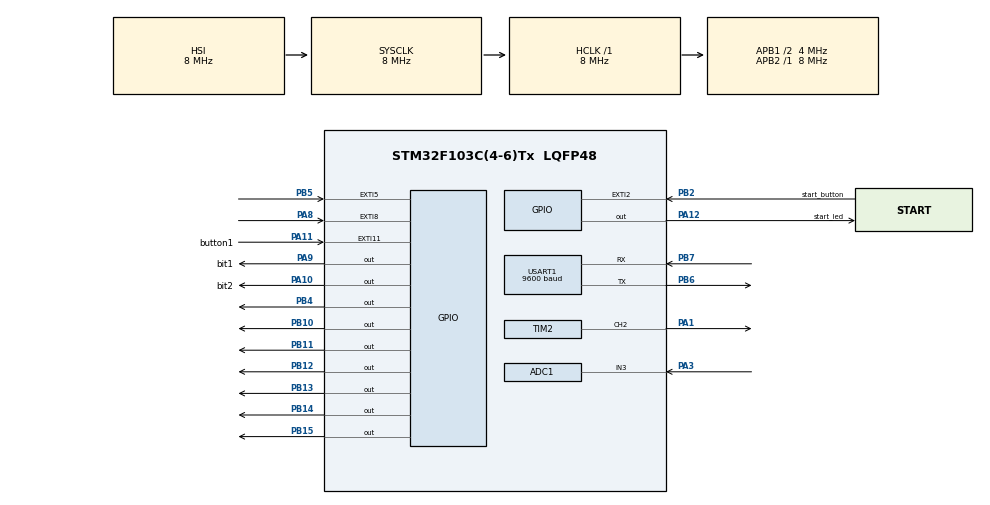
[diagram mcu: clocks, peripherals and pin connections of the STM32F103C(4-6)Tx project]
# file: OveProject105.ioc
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ADC1.Channel-0\#ChannelRegularConversion=ADC_CHANNEL_3
ADC1.ContinuousConvMode=DISABLE
ADC1.NbrOfConversionFlag=1
ADC1.Rank-0\#ChannelRegularConversion=1
ADC1.SamplingTime-0\#ChannelRegularConversion=ADC_SAMPLETIME_55CYCLES_5
ADC1.master=1
Dma.Request0=TIM2_CH2/CH4
Dma.TIM2_CH2/CH4.0.Direction=DMA_PERIPH_TO_MEMORY
Dma.TIM2_CH2/CH4.0.Instance=DMA1_Channel7
Dma.TIM2_CH2/CH4.0.MemDataAlignment=DMA_MDATAALIGN_HALFWORD
Dma.TIM2_CH2/CH4.0.MemInc=DMA_MINC_ENABLE
Dma.TIM2_CH2/CH4.0.Mode=DMA_NORMAL
Dma.TIM2_CH2/CH4.0.PeriphDataAlignment=DMA_PDATAALIGN_HALFWORD
Dma.TIM2_CH2/CH4.0.PeriphInc=DMA_PINC_DISABLE
Dma.TIM2_CH2/CH4.0.Priority=DMA_PRIORITY_LOW
Mcu.Family=STM32F1
Mcu.Name=STM32F103C(4-6)Tx
Mcu.Package=LQFP48
NVIC.ADC1_2_IRQn=true\:0\:0\:false\:false\:true\:true\:true\:true
NVIC.DMA1_Channel7_IRQn=true\:0\:0\:false\:false\:true\:false\:true\:true
NVIC.EXTI15_10_IRQn=true\:0\:0\:false\:false\:true\:true\:true\:true
NVIC.EXTI2_IRQn=true\:0\:0\:false\:false\:true\:true\:true\:true
NVIC.EXTI9_5_IRQn=true\:0\:0\:false\:false\:true\:true\:true\:true
NVIC.PriorityGroup=NVIC_PRIORITYGROUP_4
NVIC.RTC_IRQn=true\:0\:0\:false\:false\:true\:true\:true\:true
NVIC.TIM2_IRQn=true\:0\:0\:false\:false\:true\:true\:true\:true
NVIC.TIM3_IRQn=true\:0\:0\:false\:false\:true\:true\:true\:true
NVIC.USART1_IRQn=true\:0\:0\:false\:false\:true\:true\:true\:true
PA1.Signal=S_TIM2_CH2
PA10.GPIO_Label=bit2
PA10.Signal=GPIO_Output
PA11.GPIO_Label=button1
PA11.GPIO_PuPd=GPIO_PULLDOWN
PA11.Signal=GPXTI11
PA12.GPIO_Label=start_led
PA12.Signal=GPIO_Output
PA13.Mode=Serial_Wire
PA13.Signal=SYS_JTMS-SWDIO
PA14.Mode=Serial_Wire
PA14.Signal=SYS_JTCK-SWCLK
PA3.Signal=ADCx_IN3
PA8.GPIO_PuPd=GPIO_PULLDOWN
PA8.Signal=GPXTI8
PA9.GPIO_Label=bit1
PA9.Signal=GPIO_Output
PB10.Signal=GPIO_Output
PB11.Signal=GPIO_Output
PB12.Signal=GPIO_Output
PB13.Signal=GPIO_Output
PB14.Signal=GPIO_Output
PB15.Signal=GPIO_Output
PB2.GPIO_Label=start_button
PB2.GPIO_PuPd=GPIO_PULLDOWN
PB2.Signal=GPXTI2
PB4.Signal=GPIO_Output
PB5.GPIO_PuPd=GPIO_PULLDOWN
PB5.Signal=GPXTI5
PB6.Mode=Asynchronous
PB6.Signal=USART1_TX
PB7.Mode=Asynchronous
PB7.Signal=USART1_RX
PD0-OSC_IN.Mode=HSE-External-Oscillator
PD0-OSC_IN.Signal=RCC_OSC_IN
PD1-OSC_OUT.Mode=HSE-External-Oscillator
PD1-OSC_OUT.Signal=RCC_OSC_OUT
ProjectManager.HeapSize=0x200
ProjectManager.StackSize=0x400
ProjectManager.TargetToolchain=MDK-ARM V5.32
RCC.AHBFreq_Value=8000000
RCC.APB1CLKDivider=RCC_HCLK_DIV2
RCC.APB1Freq_Value=4000000
RCC.APB1TimFreq_Value=8000000
RCC.APB2Freq_Value=8000000
RCC.APB2TimFreq_Value=8000000
RCC.HCLKFreq_Value=8000000
RCC.PLLMUL=RCC_PLL_MUL4
RCC.SYSCLKFreq_VALUE=8000000
RCC.USBFreq_Value=16000000
RTC.Date=29
RTC.Format=RTC_FORMAT_BCD
RTC.Hours=23
RTC.Minutes=0
RTC.Month=RTC_MONTH_MAY
RTC.WeekDay=RTC_WEEKDAY_SUNDAY
SH.ADCx_IN3.0=ADC1_IN3,IN3
SH.S_TIM2_CH2.0=TIM2_CH2,PWM Generation2 CH2
TIM2.Channel-PWM\ Generation2\ CH2=TIM_CHANNEL_2
TIM2.OCPolarity_2=TIM_OCPOLARITY_HIGH
TIM2.Period=63999
TIM2.Prescaler=124
TIM3.Period=63999
TIM3.Prescaler=124
USART1.BaudRate=9600
USART1.Mode=MODE_TX_RX
USART1.VirtualMode=VM_ASYNC
VP_RTC_VS_RTC_Activate.Mode=RTC_Enabled
VP_RTC_VS_RTC_Calendar.Mode=RTC_Calendar
VP_TIM3_VS_ClockSourceINT.Mode=Internal
board=custom

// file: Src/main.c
/* USER CODE BEGIN Header */
/**
  ******************************************************************************
  * @file           : main.c
  * @brief          : Main program body
  ******************************************************************************
  * @attention
  *
  * Copyright (c) 2022 STMicroelectronics.
  * All rights reserved.
  *
  * This software is licensed under terms that can be found in the LICENSE file
  * in the root directory of this software component.
  * If no LICENSE file comes with this software, it is provided AS-IS.
  *
  ******************************************************************************
  */
/* USER CODE END Header */
#include "main.h"

/* USER CODE BEGIN Includes */
#include "stdio.h"
#include "lcd_txt.h"
#include "time.h"
GPIO_PinState button1_value_current = GPIO_PIN_RESET;
GPIO_PinState button1_value_previous = GPIO_PIN_RESET;
uint32_t raw_temp_value = 0;
uint32_t temp_value=0;
uint32_t raw_duration_value = 0;
uint32_t duration_value=0;
uint8_t current_number=0;
uint32_t user_temp_value=0;
uint32_t user_duration_value=0;
int isStart = 0;
uint8_t buffrc[8];
char str[80];
char temp_str[80]="              ";
char dur_str[80]="              ";
char empty_str[80];
char uart_rc[80];
char timer_str[80];
uint32_t timer=0;
uint32_t timer2=0;
uint8_t sec = 0;
uint8_t min = 0;
uint8_t hour = 0;
uint8_t date = 0;
uint8_t month = 0;
uint8_t year = 0;
char current_time[80];

int isClicked = 0;
/* USER CODE END Includes */

 ADC_HandleTypeDef hadc1;

RTC_HandleTypeDef hrtc;

TIM_HandleTypeDef htim2;
TIM_HandleTypeDef htim3;
DMA_HandleTypeDef hdma_tim2_ch2_ch4;

UART_HandleTypeDef huart1;

/* USER CODE BEGIN PV */
RTC_TimeTypeDef sTime;
RTC_DateTypeDef sDate;
/* USER CODE END PV */

void SystemClock_Config(void);
static void MX_GPIO_Init(void);
static void MX_ADC1_Init(void);
static void MX_RTC_Init(void);
static void MX_DMA_Init(void);
static void MX_TIM2_Init(void);
static void MX_TIM3_Init(void);
static void MX_USART1_UART_Init(void);

/* USER CODE BEGIN 0 */
void HAL_ADC_ConvCpltCallback(ADC_HandleTypeDef* hadc)
{

		 uint16_t get_val = HAL_ADC_GetValue(&hadc1);
		 raw_temp_value = (int)(get_val*12.20)/100;

     sprintf(str, "Temp = %-3d C    ", raw_temp_value);
		 if(isStart==1){

			 if(raw_temp_value>user_temp_value){
				HAL_GPIO_WritePin(GPIOA,GPIO_PIN_9, GPIO_PIN_RESET);
				HAL_GPIO_WritePin(GPIOA,GPIO_PIN_10, GPIO_PIN_RESET);

			 }
			 else if(raw_temp_value-15<user_temp_value){

					GPIO_PinState bit1_value,bit2_value;
					bit1_value = (current_number & (uint8_t)1) ? GPIO_PIN_SET:GPIO_PIN_RESET;
					bit2_value = (current_number & (uint8_t)2) ? GPIO_PIN_SET:GPIO_PIN_RESET; //0b00010
					bit1_GPIO_Port->BSRR = (bit1_value ? bit1_Pin : bit1_Pin << 16u) | (bit2_value ? bit2_Pin : bit2_Pin << 16u);

			 }

		 }

		  if (HAL_ADC_Stop_IT(&hadc1) != HAL_OK)
				{
					Error_Handler();
				}

		 //temp_value= (uint32_t)(raw_temp_value/300); // Max Val ->3000 # of choices ->10

}
/* USER CODE END 0 */

int main(void)
{
  /* USER CODE BEGIN 1 */
	sprintf(empty_str, "                       ");
  /* USER CODE END 1 */

  /* MCU Configuration--------------------------------------------------------*/

  /* Reset of all peripherals, Initializes the Flash interface and the Systick. */
  HAL_Init();

  /* Configure the system clock */
  SystemClock_Config();

  /* Initialize all configured peripherals */
  MX_GPIO_Init();
  MX_ADC1_Init();
  MX_RTC_Init();
  MX_DMA_Init();
  MX_TIM2_Init();
  MX_TIM3_Init();
  MX_USART1_UART_Init();
  /* USER CODE BEGIN 2 */

	__HAL_RTC_SECOND_ENABLE_IT(&hrtc,RTC_IT_SEC);

	 lcd_init();

  /* USER CODE END 2 */

  /* Infinite loop */
  /* USER CODE BEGIN WHILE */
	//HAL_ADC_Start_IT(&hadc1);
	 if (HAL_TIM_Base_Start_IT(&htim3) != HAL_OK)
		{
			Error_Handler();
		}

	 if (HAL_UART_Receive_IT(&huart1,(uint8_t*)buffrc,8) != HAL_OK)
		{
			Error_Handler();
		}

  while (1)
  {

		 if (HAL_ADC_Start_IT(&hadc1) != HAL_OK)
		{
			Error_Handler();
		}
		sprintf(timer_str,"   %d mins left     ",user_duration_value - timer);

		if(isStart==1){

				lcd_puts(0,0,(int8_t*)timer_str);
				lcd_puts(1,0,(int8_t*)empty_str);
		}
		else{

			if(isClicked==0){
				lcd_puts(0,0,(int8_t*)current_time);
			}
			else{
				lcd_puts(0,0,(int8_t*)temp_str);
				lcd_puts(1,0,(int8_t*)dur_str);
			}

		}

		if(isStart==0 && timer2==5){
			  lcd_clear();
				sprintf(current_time, "                      ");
			  HAL_SuspendTick();
				/* Enter Stop Mode */
				if (HAL_TIM_Base_Stop_IT(&htim3) != HAL_OK)
					{
						Error_Handler();
					}
				HAL_PWR_EnterSLEEPMode(PWR_MAINREGULATOR_ON, PWR_SLEEPENTRY_WFI);
			  HAL_ResumeTick();
				if (HAL_TIM_Base_Start_IT(&htim3) != HAL_OK)
				{
					Error_Handler();
				}
				timer2=0;

	  }

    /* USER CODE END WHILE */

  }
}

void SystemClock_Config(void)
{
  RCC_OscInitTypeDef RCC_OscInitStruct = {0};
  RCC_ClkInitTypeDef RCC_ClkInitStruct = {0};
  RCC_PeriphCLKInitTypeDef PeriphClkInit = {0};

  /** Initializes the RCC Oscillators according to the specified parameters
  * in the RCC_OscInitTypeDef structure.
  */
  RCC_OscInitStruct.OscillatorType = RCC_OSCILLATORTYPE_HSI|RCC_OSCILLATORTYPE_LSI;
  RCC_OscInitStruct.HSIState = RCC_HSI_ON;
  RCC_OscInitStruct.HSICalibrationValue = RCC_HSICALIBRATION_DEFAULT;
  RCC_OscInitStruct.LSIState = RCC_LSI_ON;
  RCC_OscInitStruct.PLL.PLLState = RCC_PLL_NONE;
  if (HAL_RCC_OscConfig(&RCC_OscInitStruct) != HAL_OK)
  {
    Error_Handler();
  }

  /** Initializes the CPU, AHB and APB buses clocks
  */
  RCC_ClkInitStruct.ClockType = RCC_CLOCKTYPE_HCLK|RCC_CLOCKTYPE_SYSCLK
                              |RCC_CLOCKTYPE_PCLK1|RCC_CLOCKTYPE_PCLK2;
  RCC_ClkInitStruct.SYSCLKSource = RCC_SYSCLKSOURCE_HSI;
  RCC_ClkInitStruct.AHBCLKDivider = RCC_SYSCLK_DIV1;
  RCC_ClkInitStruct.APB1CLKDivider = RCC_HCLK_DIV2;
  RCC_ClkInitStruct.APB2CLKDivider = RCC_HCLK_DIV1;

  if (HAL_RCC_ClockConfig(&RCC_ClkInitStruct, FLASH_LATENCY_0) != HAL_OK)
  {
    Error_Handler();
  }
  PeriphClkInit.PeriphClockSelection = RCC_PERIPHCLK_RTC|RCC_PERIPHCLK_ADC;
  PeriphClkInit.RTCClockSelection = RCC_RTCCLKSOURCE_LSI;
  PeriphClkInit.AdcClockSelection = RCC_ADCPCLK2_DIV2;
  if (HAL_RCCEx_PeriphCLKConfig(&PeriphClkInit) != HAL_OK)
  {
    Error_Handler();
  }
}

static void MX_ADC1_Init(void)
{

  ADC_ChannelConfTypeDef sConfig = {0};

  /** Common config
  */
  hadc1.Instance = ADC1;
  hadc1.Init.ScanConvMode = ADC_SCAN_DISABLE;
  hadc1.Init.ContinuousConvMode = DISABLE;
  hadc1.Init.DiscontinuousConvMode = DISABLE;
  hadc1.Init.ExternalTrigConv = ADC_SOFTWARE_START;
  hadc1.Init.DataAlign = ADC_DATAALIGN_RIGHT;
  hadc1.Init.NbrOfConversion = 1;
  if (HAL_ADC_Init(&hadc1) != HAL_OK)
  {
    Error_Handler();
  }

  /** Configure Regular Channel
  */
  sConfig.Channel = ADC_CHANNEL_3;
  sConfig.Rank = ADC_REGULAR_RANK_1;
  sConfig.SamplingTime = ADC_SAMPLETIME_55CYCLES_5;
  if (HAL_ADC_ConfigChannel(&hadc1, &sConfig) != HAL_OK)
  {
    Error_Handler();
  }

}

static void MX_RTC_Init(void)
{

  RTC_TimeTypeDef sTime = {0};
  RTC_DateTypeDef DateToUpdate = {0};

  /** Initialize RTC Only
  */
  hrtc.Instance = RTC;
  hrtc.Init.AsynchPrediv = RTC_AUTO_1_SECOND;
  hrtc.Init.OutPut = RTC_OUTPUTSOURCE_ALARM;
  if (HAL_RTC_Init(&hrtc) != HAL_OK)
  {
    Error_Handler();
  }

  /** Initialize RTC and set the Time and Date
  */
  sTime.Hours = 0x23;
  sTime.Minutes = 0x0;
  sTime.Seconds = 0x0;

  if (HAL_RTC_SetTime(&hrtc, &sTime, RTC_FORMAT_BCD) != HAL_OK)
  {
    Error_Handler();
  }
  DateToUpdate.WeekDay = RTC_WEEKDAY_SUNDAY;
  DateToUpdate.Month = RTC_MONTH_MAY;
  DateToUpdate.Date = 0x29;
  DateToUpdate.Year = 0x0;

  if (HAL_RTC_SetDate(&hrtc, &DateToUpdate, RTC_FORMAT_BCD) != HAL_OK)
  {
    Error_Handler();
  }

}

static void MX_TIM2_Init(void)
{

  TIM_MasterConfigTypeDef sMasterConfig = {0};
  TIM_OC_InitTypeDef sConfigOC = {0};

  htim2.Instance = TIM2;
  htim2.Init.Prescaler = 124;
  htim2.Init.CounterMode = TIM_COUNTERMODE_UP;
  htim2.Init.Period = 63999;
  htim2.Init.ClockDivision = TIM_CLOCKDIVISION_DIV1;
  htim2.Init.AutoReloadPreload = TIM_AUTORELOAD_PRELOAD_DISABLE;
  if (HAL_TIM_PWM_Init(&htim2) != HAL_OK)
  {
    Error_Handler();
  }
  sMasterConfig.MasterOutputTrigger = TIM_TRGO_RESET;
  sMasterConfig.MasterSlaveMode = TIM_MASTERSLAVEMODE_DISABLE;
  if (HAL_TIMEx_MasterConfigSynchronization(&htim2, &sMasterConfig) != HAL_OK)
  {
    Error_Handler();
  }
  sConfigOC.OCMode = TIM_OCMODE_PWM1;
  sConfigOC.Pulse = 0;
  sConfigOC.OCPolarity = TIM_OCPOLARITY_HIGH;
  sConfigOC.OCFastMode = TIM_OCFAST_DISABLE;
  if (HAL_TIM_PWM_ConfigChannel(&htim2, &sConfigOC, TIM_CHANNEL_2) != HAL_OK)
  {
    Error_Handler();
  }
  HAL_TIM_MspPostInit(&htim2);

}

static void MX_TIM3_Init(void)
{

  TIM_ClockConfigTypeDef sClockSourceConfig = {0};
  TIM_MasterConfigTypeDef sMasterConfig = {0};

  htim3.Instance = TIM3;
  htim3.Init.Prescaler = 124;
  htim3.Init.CounterMode = TIM_COUNTERMODE_UP;
  htim3.Init.Period = 63999;
  htim3.Init.ClockDivision = TIM_CLOCKDIVISION_DIV1;
  htim3.Init.AutoReloadPreload = TIM_AUTORELOAD_PRELOAD_DISABLE;
  if (HAL_TIM_Base_Init(&htim3) != HAL_OK)
  {
    Error_Handler();
  }
  sClockSourceConfig.ClockSource = TIM_CLOCKSOURCE_INTERNAL;
  if (HAL_TIM_ConfigClockSource(&htim3, &sClockSourceConfig) != HAL_OK)
  {
    Error_Handler();
  }
  sMasterConfig.MasterOutputTrigger = TIM_TRGO_RESET;
  sMasterConfig.MasterSlaveMode = TIM_MASTERSLAVEMODE_DISABLE;
  if (HAL_TIMEx_MasterConfigSynchronization(&htim3, &sMasterConfig) != HAL_OK)
  {
    Error_Handler();
  }

}

static void MX_USART1_UART_Init(void)
{

  huart1.Instance = USART1;
  huart1.Init.BaudRate = 9600;
  huart1.Init.WordLength = UART_WORDLENGTH_8B;
  huart1.Init.StopBits = UART_STOPBITS_1;
  huart1.Init.Parity = UART_PARITY_NONE;
  huart1.Init.Mode = UART_MODE_TX_RX;
  huart1.Init.HwFlowCtl = UART_HWCONTROL_NONE;
  huart1.Init.OverSampling = UART_OVERSAMPLING_16;
  if (HAL_UART_Init(&huart1) != HAL_OK)
  {
    Error_Handler();
  }

}

static void MX_DMA_Init(void)
{

  /* DMA controller clock enable */
  __HAL_RCC_DMA1_CLK_ENABLE();

  /* DMA interrupt init */
  /* DMA1_Channel7_IRQn interrupt configuration */
  HAL_NVIC_SetPriority(DMA1_Channel7_IRQn, 0, 0);
  HAL_NVIC_EnableIRQ(DMA1_Channel7_IRQn);

}

static void MX_GPIO_Init(void)
{
  GPIO_InitTypeDef GPIO_InitStruct = {0};

  /* GPIO Ports Clock Enable */
  __HAL_RCC_GPIOD_CLK_ENABLE();
  __HAL_RCC_GPIOA_CLK_ENABLE();
  __HAL_RCC_GPIOB_CLK_ENABLE();

  /*Configure GPIO pin Output Level */
  HAL_GPIO_WritePin(GPIOB, GPIO_PIN_10|GPIO_PIN_11|GPIO_PIN_12|GPIO_PIN_13
                          |GPIO_PIN_14|GPIO_PIN_15|GPIO_PIN_4, GPIO_PIN_RESET);

  /*Configure GPIO pin Output Level */
  HAL_GPIO_WritePin(GPIOA, bit1_Pin|bit2_Pin|start_led_Pin, GPIO_PIN_RESET);

  /*Configure GPIO pins : start_button_Pin PB5 */
  GPIO_InitStruct.Pin = start_button_Pin|GPIO_PIN_5;
  GPIO_InitStruct.Mode = GPIO_MODE_IT_RISING;
  GPIO_InitStruct.Pull = GPIO_PULLDOWN;
  HAL_GPIO_Init(GPIOB, &GPIO_InitStruct);

  /*Configure GPIO pins : PB10 PB11 PB12 PB13
                           PB14 PB15 PB4 */
  GPIO_InitStruct.Pin = GPIO_PIN_10|GPIO_PIN_11|GPIO_PIN_12|GPIO_PIN_13
                          |GPIO_PIN_14|GPIO_PIN_15|GPIO_PIN_4;
  GPIO_InitStruct.Mode = GPIO_MODE_OUTPUT_PP;
  GPIO_InitStruct.Pull = GPIO_NOPULL;
  GPIO_InitStruct.Speed = GPIO_SPEED_FREQ_LOW;
  HAL_GPIO_Init(GPIOB, &GPIO_InitStruct);

  /*Configure GPIO pins : PA8 button1_Pin */
  GPIO_InitStruct.Pin = GPIO_PIN_8|button1_Pin;
  GPIO_InitStruct.Mode = GPIO_MODE_IT_RISING;
  GPIO_InitStruct.Pull = GPIO_PULLDOWN;
  HAL_GPIO_Init(GPIOA, &GPIO_InitStruct);

  /*Configure GPIO pins : bit1_Pin bit2_Pin start_led_Pin */
  GPIO_InitStruct.Pin = bit1_Pin|bit2_Pin|start_led_Pin;
  GPIO_InitStruct.Mode = GPIO_MODE_OUTPUT_PP;
  GPIO_InitStruct.Pull = GPIO_NOPULL;
  GPIO_InitStruct.Speed = GPIO_SPEED_FREQ_LOW;
  HAL_GPIO_Init(GPIOA, &GPIO_InitStruct);

  /* EXTI interrupt init*/
  HAL_NVIC_SetPriority(EXTI2_IRQn, 0, 0);
  HAL_NVIC_EnableIRQ(EXTI2_IRQn);

  HAL_NVIC_SetPriority(EXTI9_5_IRQn, 0, 0);
  HAL_NVIC_EnableIRQ(EXTI9_5_IRQn);

  HAL_NVIC_SetPriority(EXTI15_10_IRQn, 0, 0);
  HAL_NVIC_EnableIRQ(EXTI15_10_IRQn);

}

/* USER CODE BEGIN 4 */
void HAL_GPIO_EXTI_Callback(uint16_t GPIO_Pin)
{
		timer2=0;
		if(GPIO_Pin==GPIO_PIN_11){
		//	time+=10;
		//}
		//else{
			if(isStart==0){
				button1_value_previous = button1_value_current;
				button1_value_current = HAL_GPIO_ReadPin(button1_GPIO_Port, button1_Pin);
				current_number++;

				if(current_number%4==0){
					current_number=1;
				}

				GPIO_PinState bit1_value,bit2_value;
				bit1_value = (current_number & (uint8_t)1) ? GPIO_PIN_SET:GPIO_PIN_RESET;
				bit2_value = (current_number & (uint8_t)2) ? GPIO_PIN_SET:GPIO_PIN_RESET; //0b00010
				bit1_GPIO_Port->BSRR = (bit1_value ? bit1_Pin : bit1_Pin << 16u) | (bit2_value ? bit2_Pin : bit2_Pin << 16u);

			}

		}
		if(GPIO_Pin==GPIO_PIN_2){
			timer=0;
			HAL_GPIO_TogglePin(GPIOA, GPIO_PIN_12);
			//lcd_clear();
			isStart=(isStart+1)%2;
			if(isStart==0){
				isClicked=0;
			}

		}

		if(GPIO_Pin==GPIO_PIN_8){

			if(isStart==0){

				user_temp_value+=20;
				user_temp_value%=200;
				sprintf(temp_str, "Set Temp = %-3d C", user_temp_value);
				isClicked=1;

			}
		}

			if(GPIO_Pin==GPIO_PIN_5){

			if(isStart==0){
				user_duration_value+=5;
				user_duration_value%=180;
				timer=user_duration_value;
				sprintf(dur_str, "Set Dur. = %-3d m", user_duration_value);
				isClicked=1;

			}

		}

}

void HAL_RTCEx_RTCEventCallback(RTC_HandleTypeDef *hrtc){

		RTC_TimeTypeDef tmpTime;
		if (HAL_OK != HAL_RTC_GetTime(hrtc,&tmpTime,RTC_FORMAT_BIN)){
			Error_Handler();
		}
		sec = tmpTime.Seconds;
		min = tmpTime.Minutes;
		hour = tmpTime.Hours;

		sprintf(current_time, "    %02d:%02d:%02d     ", hour,min,sec);
}

 void HAL_UART_RxCpltCallback(UART_HandleTypeDef *huart)
{

	if (HAL_OK !=  HAL_UART_Receive_IT(&huart1,(uint8_t*)buffrc,8)){
			Error_Handler();
		}
	if(buffrc[7]=='s' && isStart==0){

			user_temp_value = (((int)buffrc[0])-48)*100 + (((int)buffrc[1])-48)*10 + (((int)buffrc[2])-48);
			user_duration_value = (((int)buffrc[3])-48)*100 + (((int)buffrc[4])-48)*10 + (((int)buffrc[5])-48);
			HAL_GPIO_TogglePin(GPIOA, GPIO_PIN_12);
			timer=0;
			isStart = 1;
			if(buffrc[6]=='1'){
					current_number=1;
			}else if(buffrc[6]=='2'){
				current_number=2;
			}else{
				current_number=3;
			}

			GPIO_PinState bit1_value,bit2_value;
			bit1_value = (current_number & (uint8_t)1) ? GPIO_PIN_SET:GPIO_PIN_RESET;
			bit2_value = (current_number & (uint8_t)2) ? GPIO_PIN_SET:GPIO_PIN_RESET; //0b00010
			bit1_GPIO_Port->BSRR = (bit1_value ? bit1_Pin : bit1_Pin << 16u) | (bit2_value ? bit2_Pin : bit2_Pin << 16u);

	}
	timer2=0;
}

/* USER CODE END 4 */

void Error_Handler(void)
{
  __disable_irq();
  while (1)
  {
  }
}
